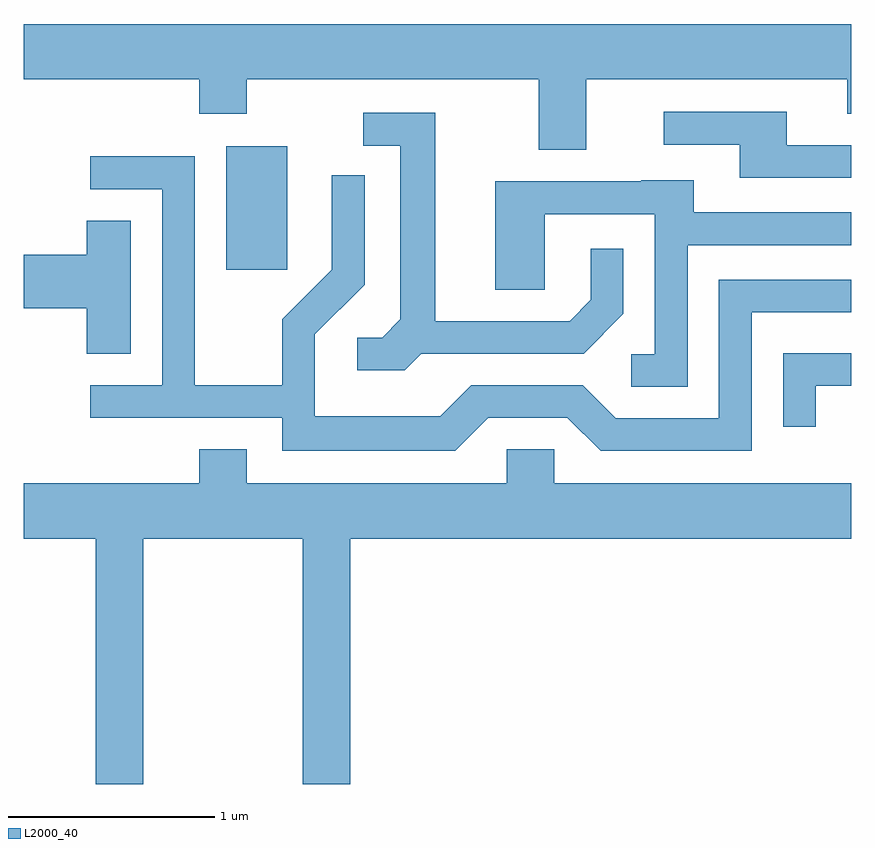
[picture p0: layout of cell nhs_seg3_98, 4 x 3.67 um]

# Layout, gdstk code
import gdstk
lib = gdstk.Library(unit=1e-6, precision=1e-09)
def R(c, l, rs):  # rectangles x0, y0, x1, y1
    for r in rs: c.add(gdstk.rectangle(r[:2], r[2:], *l))
def P(c, l, *ps):  # polygons
    for p in ps: c.add(gdstk.Polygon(p, *l))
L2000_40 = (2000, 40)

nhs_seg3_98 = lib.new_cell('nhs_seg3_98')
R(nhs_seg3_98, L2000_40, [(188.591,1178.376,188.884,1178.974)])
P(nhs_seg3_98, L2000_40, [(190.329,1179.296),(191.591,1179.296),(191.591,1179.131),(191.611,1179.131),(191.611,1179.564),(187.611,1179.564),(187.611,1179.296),(188.461,1179.296),(188.461,1179.131),(188.689,1179.131),(188.689,1179.296),(190.101,1179.296),(190.101,1178.956),(190.329,1178.956)],
  [(191.611,1178.979),(191.299,1178.979),(191.299,1179.139),(190.703,1179.139),(190.703,1178.981),(191.071,1178.981),(191.071,1178.821),(191.611,1178.821)],
  [(189.532,1177.971),(190.317,1177.971),(190.509,1178.164),(190.509,1178.478),(190.351,1178.478),(190.351,1178.232),(190.249,1178.129),(189.599,1178.129),(189.599,1179.134),(189.253,1179.134),(189.253,1178.976),(189.431,1178.976),(189.431,1178.137),(189.344,1178.049),(189.223,1178.049),(189.223,1177.891),(189.452,1177.891)],
  [(189.857,1177.661),(190.239,1177.661),(190.399,1177.501),(191.129,1177.501),(191.129,1178.171),(191.611,1178.171),(191.611,1178.329),(190.971,1178.329),(190.971,1177.659),(190.472,1177.659),(190.312,1177.819),(189.774,1177.819),(189.624,1177.669),(189.019,1177.669),(189.019,1178.064),(189.259,1178.304),(189.259,1178.833),(189.101,1178.833),(189.101,1178.377),(188.861,1178.137),(188.861,1177.819),(188.439,1177.819),(188.439,1178.924),(187.933,1178.924),(187.933,1178.766),(188.281,1178.766),(188.281,1177.819),(187.933,1177.819),(187.933,1177.661),(188.861,1177.661),(188.861,1177.501),(189.697,1177.501)],
  [(190.819,1178.496),(191.611,1178.496),(191.611,1178.654),(190.849,1178.654),(190.849,1178.809),(190.595,1178.809),(190.595,1178.804),(189.891,1178.804),(189.891,1178.281),(190.129,1178.281),(190.129,1178.646),(190.661,1178.646),(190.661,1177.969),(190.548,1177.969),(190.548,1177.811),(190.819,1177.811)],
  [(188.129,1178.614),(187.916,1178.614),(187.916,1178.449),(187.611,1178.449),(187.611,1178.191),(187.916,1178.191),(187.916,1177.971),(188.129,1177.971)],
  [(191.439,1177.816),(191.611,1177.816),(191.611,1177.974),(191.281,1177.974),(191.281,1177.618),(191.439,1177.618)],
  [(188.189,1177.076),(188.961,1177.076),(188.961,1175.892),(189.189,1175.892),(189.189,1177.076),(191.611,1177.076),(191.611,1177.344),(190.174,1177.344),(190.174,1177.509),(189.946,1177.509),(189.946,1177.344),(188.689,1177.344),(188.689,1177.509),(188.461,1177.509),(188.461,1177.344),(187.611,1177.344),(187.611,1177.076),(187.961,1177.076),(187.961,1175.892),(188.189,1175.892)])

lib.write_gds('nhs_seg3_98.gds')
